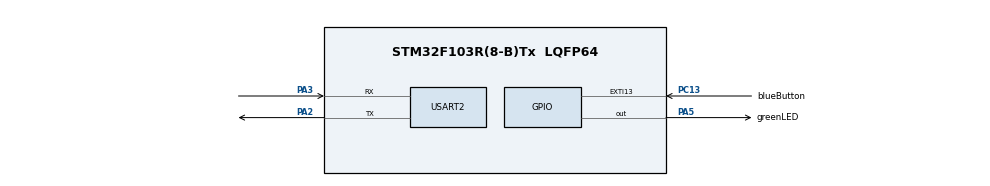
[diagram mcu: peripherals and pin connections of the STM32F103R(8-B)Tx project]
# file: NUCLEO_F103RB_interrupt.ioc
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Mcu.Family=STM32F1
Mcu.Name=STM32F103R(8-B)Tx
Mcu.Package=LQFP64
NVIC.EXTI15_10_IRQn=true\:0\:0\:false\:false\:true\:true\:true\:true
NVIC.PriorityGroup=NVIC_PRIORITYGROUP_4
PA2.Mode=Asynchronous
PA2.Signal=USART2_TX
PA3.Mode=Asynchronous
PA3.Signal=USART2_RX
PA5.GPIO_Label=greenLED
PA5.Signal=GPIO_Output
PC13-TAMPER-RTC.GPIO_Label=blueButton
PC13-TAMPER-RTC.Signal=GPXTI13
ProjectManager.HeapSize=0x200
ProjectManager.StackSize=0x400
ProjectManager.TargetToolchain=MDK-ARM V5.32
RCC.APB1Freq_Value=8000000
RCC.APB2Freq_Value=8000000
USART2.VirtualMode=VM_ASYNC
VP_SYS_VS_ND.Mode=No_Debug
board=custom

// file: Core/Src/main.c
/* USER CODE BEGIN Header */
/**
  ******************************************************************************
  * @file           : main.c
  * @brief          : Main program body
  ******************************************************************************
  * @attention
  *
  * Copyright (c) 2024 STMicroelectronics.
  * All rights reserved.
  *
  * This software is licensed under terms that can be found in the LICENSE file
  * in the root directory of this software component.
  * If no LICENSE file comes with this software, it is provided AS-IS.
  *
  ******************************************************************************
  */
/* USER CODE END Header */
#include "main.h"

/* USER CODE BEGIN Includes */

// ref: https://daiskadark.blogspot.com/2013/07/c-printf-scanf-uart.html
// option -> target -> check Use MicroLIB allow USART to output
#include <stdio.h>
#include <string.h>

#ifdef _GNUC_
#define PUTCHAR_PROTOTYPE int __io_putchar(int ch)
#else
#define PUTCHAR_PROTOTYPE int fputc(int ch, FILE *f)
#endif

/* USER CODE END Includes */

UART_HandleTypeDef huart2;

/* USER CODE BEGIN PV */

uint8_t flag_enable = 1; // make interrupt receivable
uint8_t flag_interrupt = 0; // Does interrupt happen?
/* USER CODE END PV */

void SystemClock_Config(void);
static void MX_GPIO_Init(void);
static void MX_USART2_UART_Init(void);

/* USER CODE BEGIN 0 */

PUTCHAR_PROTOTYPE
{
HAL_UART_Transmit(&huart2, (uint8_t *)&ch, 1, HAL_MAX_DELAY);
return ch;
}

/* USER CODE END 0 */

int main(void)
{

  /* MCU Configuration--------------------------------------------------------*/

  /* Reset of all peripherals, Initializes the Flash interface and the Systick. */
  HAL_Init();

  /* Configure the system clock */
  SystemClock_Config();

  /* Initialize all configured peripherals */
  MX_GPIO_Init();
  MX_USART2_UART_Init();

  /* Infinite loop */
  while (1)
  {

    /* USER CODE BEGIN 3 */
		if (flag_interrupt){
			HAL_GPIO_TogglePin(greenLED_GPIO_Port, greenLED_Pin);
			printf("interrupt!!!\n");
			HAL_Delay(5000);
			flag_enable = 1;
			flag_interrupt = 0;
		}

		printf("Hellooooooo~~~~~\n");
		HAL_Delay(500);
  }
  /* USER CODE END 3 */
}

void SystemClock_Config(void)
{
  RCC_OscInitTypeDef RCC_OscInitStruct = {0};
  RCC_ClkInitTypeDef RCC_ClkInitStruct = {0};

  /** Initializes the RCC Oscillators according to the specified parameters
  * in the RCC_OscInitTypeDef structure.
  */
  RCC_OscInitStruct.OscillatorType = RCC_OSCILLATORTYPE_HSI;
  RCC_OscInitStruct.HSIState = RCC_HSI_ON;
  RCC_OscInitStruct.HSICalibrationValue = RCC_HSICALIBRATION_DEFAULT;
  RCC_OscInitStruct.PLL.PLLState = RCC_PLL_NONE;
  if (HAL_RCC_OscConfig(&RCC_OscInitStruct) != HAL_OK)
  {
    Error_Handler();
  }

  /** Initializes the CPU, AHB and APB buses clocks
  */
  RCC_ClkInitStruct.ClockType = RCC_CLOCKTYPE_HCLK|RCC_CLOCKTYPE_SYSCLK
                              |RCC_CLOCKTYPE_PCLK1|RCC_CLOCKTYPE_PCLK2;
  RCC_ClkInitStruct.SYSCLKSource = RCC_SYSCLKSOURCE_HSI;
  RCC_ClkInitStruct.AHBCLKDivider = RCC_SYSCLK_DIV1;
  RCC_ClkInitStruct.APB1CLKDivider = RCC_HCLK_DIV1;
  RCC_ClkInitStruct.APB2CLKDivider = RCC_HCLK_DIV1;

  if (HAL_RCC_ClockConfig(&RCC_ClkInitStruct, FLASH_LATENCY_0) != HAL_OK)
  {
    Error_Handler();
  }
}

static void MX_USART2_UART_Init(void)
{

  huart2.Instance = USART2;
  huart2.Init.BaudRate = 115200;
  huart2.Init.WordLength = UART_WORDLENGTH_8B;
  huart2.Init.StopBits = UART_STOPBITS_1;
  huart2.Init.Parity = UART_PARITY_NONE;
  huart2.Init.Mode = UART_MODE_TX_RX;
  huart2.Init.HwFlowCtl = UART_HWCONTROL_NONE;
  huart2.Init.OverSampling = UART_OVERSAMPLING_16;
  if (HAL_UART_Init(&huart2) != HAL_OK)
  {
    Error_Handler();
  }

}

static void MX_GPIO_Init(void)
{
  GPIO_InitTypeDef GPIO_InitStruct = {0};

  /* GPIO Ports Clock Enable */
  __HAL_RCC_GPIOC_CLK_ENABLE();
  __HAL_RCC_GPIOA_CLK_ENABLE();

  /*Configure GPIO pin Output Level */
  HAL_GPIO_WritePin(greenLED_GPIO_Port, greenLED_Pin, GPIO_PIN_RESET);

  /*Configure GPIO pin : blueButton_Pin */
  GPIO_InitStruct.Pin = blueButton_Pin;
  GPIO_InitStruct.Mode = GPIO_MODE_IT_RISING;
  GPIO_InitStruct.Pull = GPIO_NOPULL;
  HAL_GPIO_Init(blueButton_GPIO_Port, &GPIO_InitStruct);

  /*Configure GPIO pin : greenLED_Pin */
  GPIO_InitStruct.Pin = greenLED_Pin;
  GPIO_InitStruct.Mode = GPIO_MODE_OUTPUT_PP;
  GPIO_InitStruct.Pull = GPIO_NOPULL;
  GPIO_InitStruct.Speed = GPIO_SPEED_FREQ_LOW;
  HAL_GPIO_Init(greenLED_GPIO_Port, &GPIO_InitStruct);

  /* EXTI interrupt init*/
  HAL_NVIC_SetPriority(EXTI15_10_IRQn, 0, 0);
  HAL_NVIC_EnableIRQ(EXTI15_10_IRQn);

}

/* USER CODE BEGIN 4 */

void HAL_GPIO_EXTI_Callback(uint16_t GPIO_Pin)
{
  /* Prevent unused argument(s) compilation warning */
  UNUSED(GPIO_Pin);

//	if (HAL_GPIO_ReadPin(blueButton_GPIO_Port, blueButton_Pin)){
//		HAL_GPIO_TogglePin(greenLED_GPIO_Port, greenLED_Pin);
//	}
//
//  for (uint16_t i=0; i<65535; i++); // debounce // time delay

	if (flag_enable && HAL_GPIO_ReadPin(blueButton_GPIO_Port, blueButton_Pin)){
		flag_interrupt = 1;
		flag_enable = 0;
	}

  /* NOTE: This function Should not be modified, when the callback is needed,
           the HAL_GPIO_EXTI_Callback could be implemented in the user file
   */
}

/* USER CODE END 4 */

void Error_Handler(void)
{
  __disable_irq();
  while (1)
  {
  }
}
